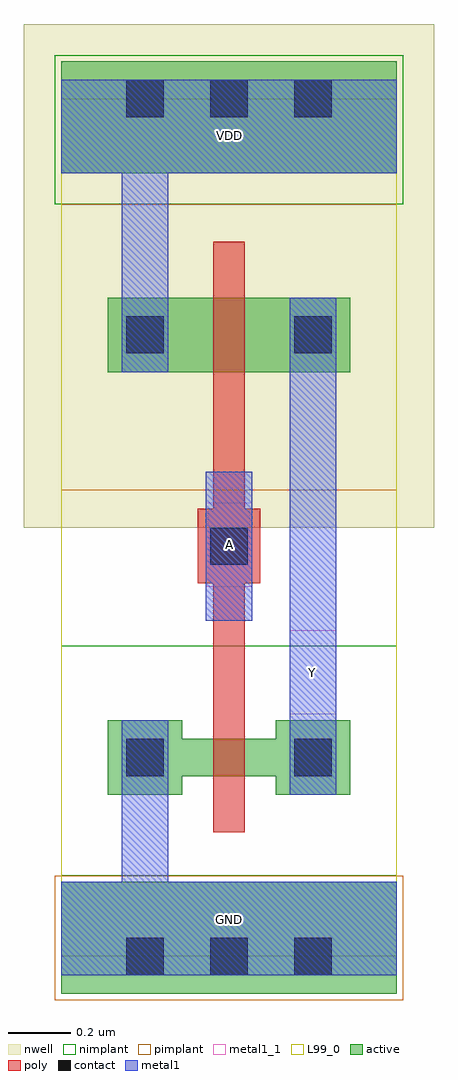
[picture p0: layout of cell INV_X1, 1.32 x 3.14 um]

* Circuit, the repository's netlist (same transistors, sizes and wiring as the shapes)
* TV3_CELLS/INV_X1: netlist from Virtuoso schematic
.SUBCKT INV_X1 A GND VDD Y
MMN0 Y A GND GND nmos1v w=120n l=100n
MMP0 Y A VDD VDD pmos1v w=240n l=100n
.ENDS INV_X1

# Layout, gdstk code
import gdstk
lib = gdstk.Library(unit=1e-6, precision=5e-10)
def R(c, l, rs):  # rectangles x0, y0, x1, y1
    for r in rs: c.add(gdstk.rectangle(r[:2], r[2:], *l))
def A(c, l, x, y, w, h, nx, ny, dx, dy):  # array of equal rectangles
    R(c, l, [(x+i*dx, y+j*dy, x+i*dx+w, y+j*dy+h) for i in range(nx) for j in range(ny)])
active = (1, 0)
nwell = (2, 0)
poly = (3, 0)
nimplant = (4, 0)
pimplant = (5, 0)
contact = (6, 0)
metal1 = (7, 0)
metal1_1 = (7, 1)
L99_0 = (99, 0)

inv_x1 = lib.new_cell('INV_X1')
R(inv_x1, active, [(0,-0.12,1.08,0.24), (0.15,0.52,0.39,0.76), (0.69,0.52,0.93,0.76), (0.39,0.58,0.69,0.7), (0.15,1.88,0.39,2.12), (0.39,1.88,0.69,2.12), (0.69,1.88,0.93,2.12), (0,2.52,1.08,2.88)])
R(inv_x1, nwell, [(-0.12,1.38,1.2,3)])
R(inv_x1, poly, [(0.49,0.4,0.59,2.3), (0.44,1.2,0.64,1.44)])
R(inv_x1, nimplant, [(0,0.26,1.08,1), (-0.02,2.42,1.1,2.9)])
R(inv_x1, pimplant, [(-0.02,-0.14,1.1,0.26), (0,1.5,1.08,2.42)])
A(inv_x1, contact, 0.21, -0.06, 0.12, 0.12, 3, 2, 0.27, 2.76)
R(inv_x1, contact, [(0.21,0.58,0.33,0.7), (0.75,0.58,0.87,0.7), (0.48,1.26,0.6,1.38), (0.21,1.94,0.33,2.06), (0.75,1.94,0.87,2.06)])
R(inv_x1, metal1, [(0,-0.06,1.08,0.24), (0.195,0,0.345,0.76), (0.735,0.52,0.885,2.12), (0.465,1.08,0.615,1.56), (0.195,1.88,0.345,2.76), (0,2.52,1.08,2.82)])
R(inv_x1, metal1_1, [(0,0,1.08,0.24), (0.735,0.78,0.885,1.05), (0.465,1.19,0.615,1.46), (0,2.52,1.08,2.76)])
R(inv_x1, L99_0, [(0,0,1.08,2.76)])
inv_x1.add(gdstk.Label('Y', (0.81,0.915), layer=7, texttype=3))
inv_x1.add(gdstk.Label('A', (0.54,1.325), layer=7, texttype=3))
inv_x1.add(gdstk.Label('VDD', (0.54,2.64), layer=7, texttype=3))
inv_x1.add(gdstk.Label('GND', (0.54,0.12), layer=7, texttype=3))

lib.write_gds('INV_X1.gds')
